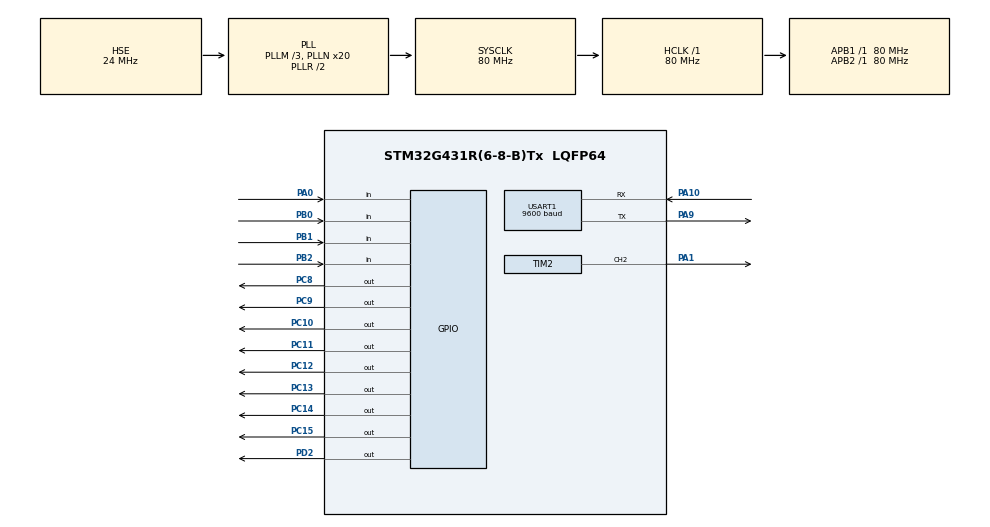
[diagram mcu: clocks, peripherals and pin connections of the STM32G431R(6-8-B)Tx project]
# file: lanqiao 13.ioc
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Mcu.Family=STM32G4
Mcu.Name=STM32G431R(6-8-B)Tx
Mcu.Package=LQFP64
NVIC.PriorityGroup=NVIC_PRIORITYGROUP_4
NVIC.TIM2_IRQn=true\:0\:0\:false\:false\:true\:true\:true\:true
NVIC.TIM3_IRQn=true\:0\:0\:false\:false\:true\:true\:true\:true
NVIC.TIM4_IRQn=true\:0\:0\:false\:false\:true\:true\:true\:true
NVIC.USART1_IRQn=true\:0\:0\:false\:false\:true\:true\:true\:true
PA0.GPIO_PuPd=GPIO_PULLUP
PA0.Signal=GPIO_Input
PA1.Signal=S_TIM2_CH2
PA10.Mode=Asynchronous
PA10.Signal=USART1_RX
PA9.Mode=Asynchronous
PA9.Signal=USART1_TX
PB0.GPIO_PuPd=GPIO_PULLUP
PB0.Signal=GPIO_Input
PB1.GPIO_PuPd=GPIO_PULLUP
PB1.Signal=GPIO_Input
PB2.GPIO_PuPd=GPIO_PULLUP
PB2.Signal=GPIO_Input
PC10.Signal=GPIO_Output
PC11.Signal=GPIO_Output
PC12.Signal=GPIO_Output
PC13.Signal=GPIO_Output
PC14-OSC32_IN.Signal=GPIO_Output
PC15-OSC32_OUT.Signal=GPIO_Output
PC8.Signal=GPIO_Output
PC9.Signal=GPIO_Output
PD2.Signal=GPIO_Output
PF0-OSC_IN.Mode=HSE-External-Oscillator
PF0-OSC_IN.Signal=RCC_OSC_IN
PF1-OSC_OUT.Mode=HSE-External-Oscillator
PF1-OSC_OUT.Signal=RCC_OSC_OUT
ProjectManager.HeapSize=0x200
ProjectManager.StackSize=0x400
ProjectManager.TargetToolchain=MDK-ARM V5.32
RCC.ADC12Freq_Value=80000000
RCC.AHBFreq_Value=80000000
RCC.APB1Freq_Value=80000000
RCC.APB1TimFreq_Value=80000000
RCC.APB2Freq_Value=80000000
RCC.APB2TimFreq_Value=80000000
RCC.CortexFreq_Value=80000000
RCC.EXTERNAL_CLOCK_VALUE=12288000
RCC.HCLKFreq_Value=80000000
RCC.HSE_VALUE=24000000
RCC.HSI48_VALUE=48000000
RCC.HSI_VALUE=16000000
RCC.LSE_VALUE=32768
RCC.PLLM=RCC_PLLM_DIV3
RCC.PLLN=20
RCC.PLLSourceVirtual=RCC_PLLSOURCE_HSE
RCC.SYSCLKFreq_VALUE=80000000
RCC.SYSCLKSource=RCC_SYSCLKSOURCE_PLLCLK
RCC.USBFreq_Value=80000000
RCC.VCOOutputFreq_Value=160000000
SH.S_TIM2_CH2.0=TIM2_CH2,PWM Generation2 CH2
TIM2.Channel-PWM\ Generation2\ CH2=TIM_CHANNEL_2
TIM2.PeriodNoDither=1000-1
TIM2.Prescaler=80-1
TIM2.PulseNoDither_2=100
TIM3.PeriodNoDither=10000-1
TIM3.Prescaler=80-1
TIM4.PeriodNoDither=1000-1
TIM4.Prescaler=8000-1
USART1.BaudRate=9600
USART1.VirtualMode-Asynchronous=VM_ASYNC
VP_SYS_VS_DBSignals.Mode=DisableDeadBatterySignals
VP_TIM2_VS_ClockSourceINT.Mode=Internal
VP_TIM3_VS_ClockSourceINT.Mode=Internal
VP_TIM4_VS_ClockSourceINT.Mode=Internal
board=custom

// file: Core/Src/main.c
/* USER CODE BEGIN Header */
/**
  ******************************************************************************
  * @file           : main.c
  * @brief          : Main program body
  ******************************************************************************
  * @attention
  *
  * Copyright (c) 2024 STMicroelectronics.
  * All rights reserved.
  *
  * This software is licensed under terms that can be found in the LICENSE file
  * in the root directory of this software component.
  * If no LICENSE file comes with this software, it is provided AS-IS.
  *
  ******************************************************************************
  */
/* USER CODE END Header */
#include "main.h"
#include "tim.h"
#include "usart.h"
#include "gpio.h"

/* USER CODE BEGIN Includes */
#include "interrupt.h"
#include "lcd.h"
#include "stdio.h"
#include "string.h"
#include "stdbool.h"
/* USER CODE END Includes */

/* USER CODE BEGIN PTD */
char B1=64,B2=64,B3=64;
char key_B1=48 , key_B2=50 , key_B3=52;
int F=2000;
int D=10;
uint8_t view=0;
extern struct Keys key[4];
extern char rx_buffer[30];
extern uint8_t rx_data;
extern uint8_t rx_pointer;
extern bool uart_flag;
bool password_flag = 0;
bool ledON = 0;
bool false_ledON=0;
uint8_t false_time=0;
int led_time;
uint8_t false_flag;
bool ledState=0;
bool clear_flag=0;
/* USER CODE END PTD */

void SystemClock_Config(void);
/* USER CODE BEGIN PFP */
void lcd_control(void);
void key_control(void);
void uart_control(void);
void led_control(void);
/* USER CODE END PFP */

int main(void)
{

  /* MCU Configuration--------------------------------------------------------*/

  /* Reset of all peripherals, Initializes the Flash interface and the Systick. */
  HAL_Init();

  /* Configure the system clock */
  SystemClock_Config();

  /* Initialize all configured peripherals */
  MX_GPIO_Init();
  MX_TIM3_Init();
  MX_USART1_UART_Init();
  MX_TIM2_Init();
  MX_TIM4_Init();
  /* USER CODE BEGIN 2 */
	LCD_Init();
	LCD_Clear(Black);
	LCD_SetBackColor(Black);
	LCD_SetTextColor(White);
	HAL_TIM_Base_Start_IT(&htim3);
	HAL_TIM_Base_Start_IT(&htim4);
	HAL_UART_Receive_IT(&huart1 , &rx_data , 1);
	HAL_GPIO_WritePin(GPIOC , GPIO_PIN_8|GPIO_PIN_9|GPIO_PIN_10|GPIO_PIN_11|GPIO_PIN_12|GPIO_PIN_13|GPIO_PIN_14|GPIO_PIN_15 , GPIO_PIN_SET);
	HAL_GPIO_WritePin(GPIOD , GPIO_PIN_2 , GPIO_PIN_SET);
	HAL_GPIO_WritePin(GPIOD , GPIO_PIN_2 , GPIO_PIN_RESET);
	HAL_TIM_PWM_Start(&htim2 , TIM_CHANNEL_2);
  /* USER CODE END 2 */

  /* Infinite loop */
  while (1)
  {

    /* USER CODE BEGIN 3 */
		lcd_control();
		key_control();
		uart_control();
		led_control();
  }
  /* USER CODE END 3 */
}

void SystemClock_Config(void)
{
  RCC_OscInitTypeDef RCC_OscInitStruct = {0};
  RCC_ClkInitTypeDef RCC_ClkInitStruct = {0};

  /** Configure the main internal regulator output voltage
  */
  HAL_PWREx_ControlVoltageScaling(PWR_REGULATOR_VOLTAGE_SCALE1);

  /** Initializes the RCC Oscillators according to the specified parameters
  * in the RCC_OscInitTypeDef structure.
  */
  RCC_OscInitStruct.OscillatorType = RCC_OSCILLATORTYPE_HSE;
  RCC_OscInitStruct.HSEState = RCC_HSE_ON;
  RCC_OscInitStruct.PLL.PLLState = RCC_PLL_ON;
  RCC_OscInitStruct.PLL.PLLSource = RCC_PLLSOURCE_HSE;
  RCC_OscInitStruct.PLL.PLLM = RCC_PLLM_DIV3;
  RCC_OscInitStruct.PLL.PLLN = 20;
  RCC_OscInitStruct.PLL.PLLP = RCC_PLLP_DIV2;
  RCC_OscInitStruct.PLL.PLLQ = RCC_PLLQ_DIV2;
  RCC_OscInitStruct.PLL.PLLR = RCC_PLLR_DIV2;
  if (HAL_RCC_OscConfig(&RCC_OscInitStruct) != HAL_OK)
  {
    Error_Handler();
  }

  /** Initializes the CPU, AHB and APB buses clocks
  */
  RCC_ClkInitStruct.ClockType = RCC_CLOCKTYPE_HCLK|RCC_CLOCKTYPE_SYSCLK
                              |RCC_CLOCKTYPE_PCLK1|RCC_CLOCKTYPE_PCLK2;
  RCC_ClkInitStruct.SYSCLKSource = RCC_SYSCLKSOURCE_PLLCLK;
  RCC_ClkInitStruct.AHBCLKDivider = RCC_SYSCLK_DIV1;
  RCC_ClkInitStruct.APB1CLKDivider = RCC_HCLK_DIV1;
  RCC_ClkInitStruct.APB2CLKDivider = RCC_HCLK_DIV1;

  if (HAL_RCC_ClockConfig(&RCC_ClkInitStruct, FLASH_LATENCY_2) != HAL_OK)
  {
    Error_Handler();
  }
}

/* USER CODE BEGIN 4 */
void lcd_control()
{
	if(view==0)
	{
		if(clear_flag == 1)
		{
			B1=64,B2=64,B3=64;
			LCD_Clear(Black);
			clear_flag = 0;
		}
		LCD_DisplayStringLine(Line1 , (uint8_t *)"       PSD          ");
		char text[30];
		sprintf(text ,"    B1:%c" , B1);
		LCD_DisplayStringLine(Line3 , (uint8_t *)text);
		sprintf(text ,"    B2:%c" , B2);
		LCD_DisplayStringLine(Line4 , (uint8_t *)text);
		sprintf(text ,"    B3:%c" , B3);
		LCD_DisplayStringLine(Line5 , (uint8_t *)text);
	}

	if(view==1)
	{
		LCD_DisplayStringLine(Line1 , (uint8_t *)"       STA          ");
		char text[30];
		sprintf(text ,"    F:%dHz" , F);
		LCD_DisplayStringLine(Line3 , (uint8_t *)text);
		sprintf(text ,"    D:%d%%" , D);
		LCD_DisplayStringLine(Line4 , (uint8_t *)text);
	}

}

void key_control()
{
	if(B1 == 64 && key[0].single_flag == 1)
	{
		key[0].single_flag = 0;
		B1 = B1-16;
	}else if(key[0].single_flag == 1)
					{
						B1++;
						if(B1 == 58)	B1=48;
						key[0].single_flag = 0;
					}

	if(B2 == 64 && key[1].single_flag == 1)
	{
		key[1].single_flag = 0;
		B2 = B2-16;
	}else if(key[1].single_flag == 1)
					{
						B2++;
						if(B2 == 58)	B2=48;
						key[1].single_flag = 0;
					}

	if(B3 == 64 && key[2].single_flag == 1)
	{
		key[2].single_flag = 0;
		B3 = B3-16;
	}else if(key[2].single_flag == 1)
					{
						B3++;
						if(B3 == 58)	B3=48;
						key[2].single_flag = 0;
					}

	if(key[3].single_flag == 1)
	{
		if(B1==key_B1 && B2==key_B2	&& B3==key_B3)
		{
			password_flag = 1;
			LCD_Clear(Black);
			key[3].single_flag = 0;
			view = 1;
		}else
				{
					B1 = 64;
					B2 = 64;
					B3 = 64;
					key[3].single_flag = 0;
					HAL_TIM_Base_Start_IT(&htim2);
					false_flag++;
					if(false_flag>=3)	false_ledON=1;
				}

	}

}

void uart_control()
{
	char puB1 , puB2 , puB3 , nuB1 , nuB2 , nuB3;
	if(uart_flag == 1)
	{
		sscanf(rx_buffer , "%c%c%c-%c%c%c" , &puB1 , &puB2 , &puB3 , &nuB1 , &nuB2 , &nuB3);
		if(puB1==key_B1 && puB2==key_B2 && puB3==key_B3)
		{
			key_B1 = nuB1;
			key_B2 = nuB2;
			key_B3 = nuB3;
			uart_flag = 0;
			HAL_UART_Transmit(&huart1 , (uint8_t *)"Modified Successfully\r\n" , strlen("Modified Successfully\r\n") , 50);
		}else
				{
					HAL_UART_Transmit(&huart1 , (uint8_t *)"Modified Failed\r\n" , strlen("Modified Failed\r\n") , 50);
					uart_flag = 0;
				}

	}

}

void led_control()
{

	if(password_flag == 1)
	{
		__HAL_TIM_SET_COMPARE(&htim2 , TIM_CHANNEL_2 , 10);
		__HAL_TIM_SET_PRESCALER(&htim2 , 40-1);
		__HAL_TIM_SET_AUTORELOAD(&htim2 , 1000-1);
		ledON = 1;
		HAL_TIM_Base_Start_IT(&htim2);
		password_flag = 0;
	}
}

/* USER CODE END 4 */

void Error_Handler(void)
{
  __disable_irq();
  while (1)
  {
  }
}
